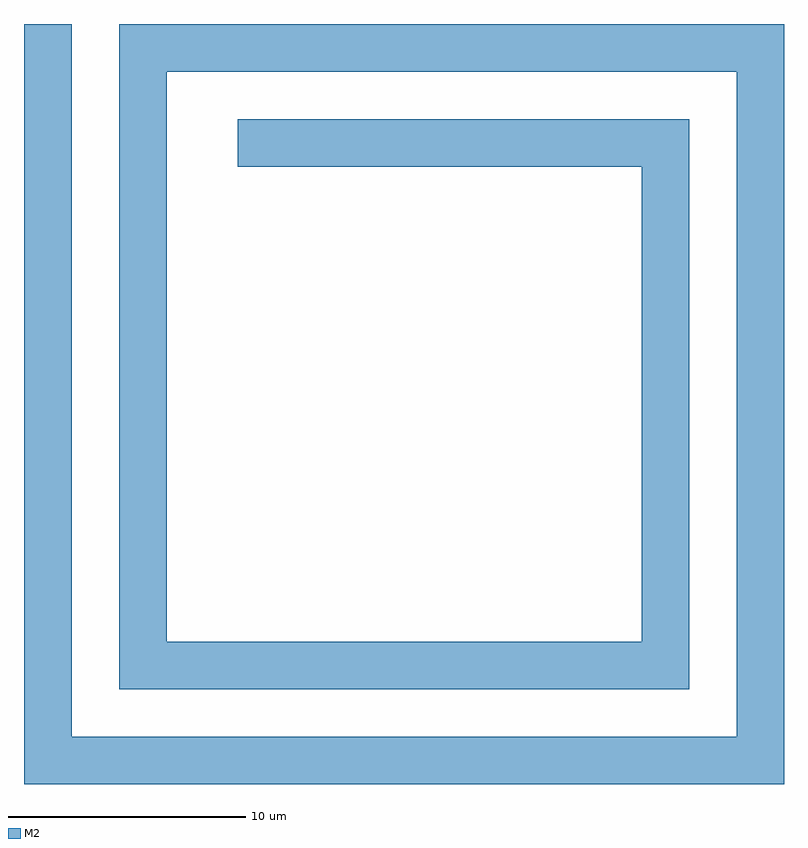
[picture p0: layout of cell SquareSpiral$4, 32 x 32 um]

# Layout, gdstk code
import gdstk
lib = gdstk.Library(unit=1e-6, precision=1e-09)
M2 = (6, 0)

squarespiral_4 = lib.new_cell('SquareSpiral$4')
squarespiral_4.add(gdstk.FlexPath([(-8,11),(10,11),(10,-11),(-12,-11),(-12,15),(14,15),(14,-15),(-16,-15),(-16,16)], 2, ends="flush", simple_path=True, layer=6, datatype=0))  # M2

lib.write_gds('SquareSpiral_4.gds')
